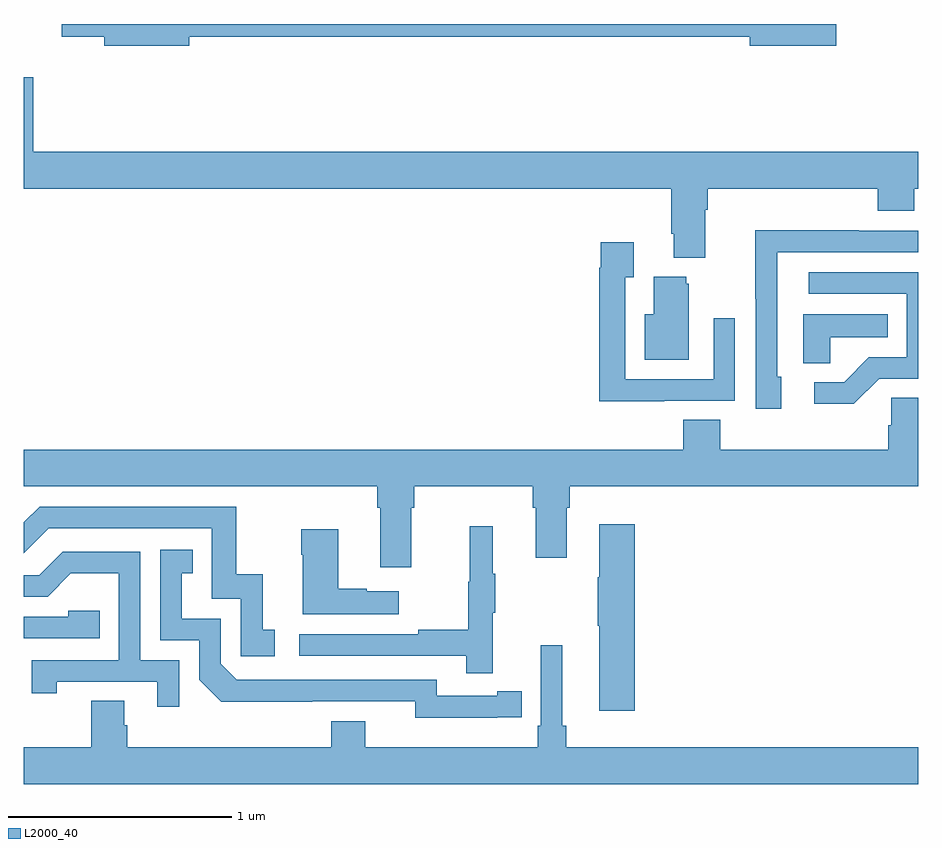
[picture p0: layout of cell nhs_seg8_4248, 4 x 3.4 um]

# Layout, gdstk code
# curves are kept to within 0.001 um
import gdstk
lib = gdstk.Library(unit=1e-6, precision=1e-09)
def P(c, l, *ps):  # polygons
    for p in ps: c.add(gdstk.Polygon(p, *l))
L2000_40 = (2000, 40)

nhs_seg8_4248 = lib.new_cell('nhs_seg8_4248')
P(nhs_seg8_4248, L2000_40, [(371.74,1119.844),(374.246,1119.844),(374.246,1119.802),(374.635,1119.802),(374.635,1119.9),(371.169,1119.9),(371.169,1119.844),(371.36,1119.844),(371.36,1119.802),(371.74,1119.802)],
  [(374.047,1119.068),(374.06,1119.068),(374.06,1119.164),(374.819,1119.164),(374.819,1119.065),(374.984,1119.065),(374.984,1119.164),(375,1119.164),(375,1119.328),(371.042,1119.328),(371.042,1119.661),(371,1119.661),(371,1119.164),(373.895,1119.164),(373.895,1118.962),(373.907,1118.962),(373.907,1118.855),(374.047,1118.855)],
  [(374.389,1118.322),(374.37,1118.322),(374.37,1118.88),(375,1118.88),(375,1118.976),(374.735,1118.976),(374.735,1118.978),(374.272,1118.978),(374.272,1118.671),(374.274,1118.671),(374.274,1118.178),(374.389,1118.178)],
  [(373.865,1118.214),(374.181,1118.214),(374.181,1118.584),(374.085,1118.584),(374.085,1118.31),(373.689,1118.31),(373.689,1118.767),(373.729,1118.767),(373.729,1118.923),(373.581,1118.923),(373.581,1118.81),(373.573,1118.81),(373.573,1118.213),(373.865,1118.213)],
  [(374.826,1118.313),(375,1118.313),(375,1118.79),(374.511,1118.79),(374.511,1118.694),(374.949,1118.694),(374.949,1118.409),(374.78,1118.409),(374.669,1118.298),(374.535,1118.298),(374.535,1118.201),(374.713,1118.201)],
  [(373.975,1118.739),(373.964,1118.739),(373.964,1118.77),(373.817,1118.77),(373.817,1118.602),(373.778,1118.602),(373.778,1118.399),(373.975,1118.399)],
  [(374.607,1118.498),(374.864,1118.498),(374.864,1118.602),(374.486,1118.602),(374.486,1118.383),(374.607,1118.383)],
  [(372.733,1117.736),(372.746,1117.736),(372.746,1117.832),(373.277,1117.832),(373.277,1117.736),(373.289,1117.736),(373.289,1117.512),(373.429,1117.512),(373.429,1117.736),(373.442,1117.736),(373.442,1117.832),(375,1117.832),(375,1118.228),(374.88,1118.228),(374.88,1118.105),(374.867,1118.105),(374.867,1117.996),(374.114,1117.996),(374.114,1118.129),(373.949,1118.129),(373.949,1117.996),(371,1117.996),(371,1117.832),(372.581,1117.832),(372.581,1117.736),(372.593,1117.736),(372.593,1117.47),(372.733,1117.47)],
  [(372.121,1117.191),(372.068,1117.191),(372.068,1117.438),(371.95,1117.438),(371.95,1117.74),(371.07,1117.74),(371,1117.67),(371,1117.532),(371.112,1117.644),(371.841,1117.644),(371.841,1117.329),(371.97,1117.329),(371.97,1117.071),(372.121,1117.071)],
  [(373.733,1117.663),(373.574,1117.663),(373.574,1117.424),(373.567,1117.424),(373.567,1117.207),(373.574,1117.207),(373.574,1116.828),(373.733,1116.828)],
  [(373.097,1117.267),(373.108,1117.267),(373.108,1117.441),(373.097,1117.441),(373.097,1117.654),(372.994,1117.654),(372.994,1117.404),(372.987,1117.404),(372.987,1117.19),(372.763,1117.19),(372.763,1117.17),(372.231,1117.17),(372.231,1117.074),(372.979,1117.074),(372.979,1116.996),(373.097,1116.996)],
  [(372.676,1117.363),(372.533,1117.363),(372.533,1117.373),(372.406,1117.373),(372.406,1117.639),(372.241,1117.639),(372.241,1117.526),(372.248,1117.526),(372.248,1117.259),(372.676,1117.259)],
  [(373.118,1116.798),(373.226,1116.798),(373.226,1116.914),(373.118,1116.914),(373.118,1116.894),(372.846,1116.894),(372.846,1116.966),(371.952,1116.966),(371.88,1117.038),(371.88,1117.239),(371.707,1117.239),(371.707,1117.443),(371.756,1117.443),(371.756,1117.549),(371.61,1117.549),(371.61,1117.143),(371.784,1117.143),(371.784,1116.966),(371.882,1116.869),(372.75,1116.87),(372.75,1116.797)],
  [(371.694,1117.053),(371.52,1117.053),(371.52,1117.539),(371.174,1117.539),(371.069,1117.434),(371,1117.434),(371,1117.338),(371.106,1117.338),(371.21,1117.442),(371.424,1117.442),(371.424,1117.053),(371.035,1117.053),(371.035,1116.906),(371.146,1116.906),(371.146,1116.957),(371.597,1116.957),(371.597,1116.846),(371.694,1116.846)],
  [(371.339,1117.275),(371.199,1117.275),(371.199,1117.248),(371,1117.248),(371,1117.152),(371.339,1117.152)],
  [(375,1116.664),(373.427,1116.664),(373.427,1116.76),(373.408,1116.76),(373.408,1117.12),(373.311,1117.12),(373.311,1116.76),(373.298,1116.76),(373.298,1116.664),(372.526,1116.664),(372.526,1116.781),(372.374,1116.781),(372.374,1116.664),(371.462,1116.664),(371.462,1116.762),(371.449,1116.762),(371.449,1116.872),(371.302,1116.872),(371.302,1116.664),(371,1116.664),(371,1116.5),(375,1116.5)])

lib.write_gds('nhs_seg8_4248.gds')
